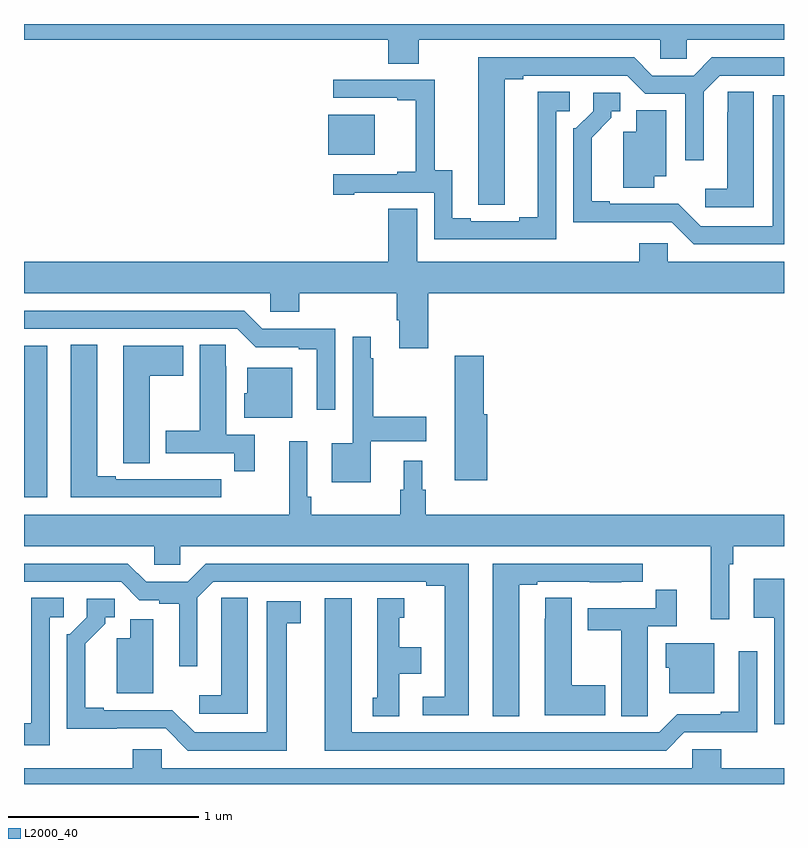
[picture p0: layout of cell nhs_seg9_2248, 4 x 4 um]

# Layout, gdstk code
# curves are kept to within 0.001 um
import gdstk
lib = gdstk.Library(unit=1e-6, precision=1e-09)
def R(c, l, rs):  # rectangles x0, y0, x1, y1
    for r in rs: c.add(gdstk.rectangle(r[:2], r[2:], *l))
def P(c, l, *ps):  # polygons
    for p in ps: c.add(gdstk.Polygon(p, *l))
L2000_40 = (2000, 40)

nhs_seg9_2248 = lib.new_cell('nhs_seg9_2248')
R(nhs_seg9_2248, L2000_40, [(239,1198.008,239.122,1198.806), (240.602,1199.813,240.847,1200.022)])
P(nhs_seg9_2248, L2000_40, [(241.077,1200.416),(242.349,1200.416),(242.349,1200.318),(242.487,1200.318),(242.487,1200.416),(243,1200.416),(243,1200.5),(239,1200.5),(239,1200.416),(240.917,1200.416),(240.917,1200.292),(241.077,1200.292)],
  [(241.531,1200.208),(241.627,1200.208),(241.627,1200.228),(242.175,1200.228),(242.271,1200.132),(242.481,1200.132),(242.481,1199.784),(242.577,1199.784),(242.577,1200.144),(242.661,1200.228),(243,1200.228),(243,1200.324),(242.621,1200.324),(242.525,1200.228),(242.307,1200.228),(242.211,1200.324),(241.391,1200.324),(241.392,1199.548),(241.531,1199.548)],
  [(241.8,1200.042),(241.873,1200.042),(241.873,1200.143),(241.703,1200.143),(241.703,1199.483),(241.607,1199.483),(241.607,1199.463),(241.351,1199.463),(241.351,1199.478),(241.255,1199.478),(241.255,1199.729),(241.161,1199.729),(241.161,1200.207),(240.627,1200.207),(240.627,1200.111),(240.965,1200.111),(240.965,1200.099),(241.061,1200.099),(241.061,1199.722),(240.965,1199.722),(240.965,1199.709),(240.627,1199.709),(240.627,1199.601),(240.739,1199.601),(240.739,1199.613),(241.158,1199.613),(241.158,1199.367),(241.8,1199.367)],
  [(242.842,1200.143),(242.703,1200.143),(242.703,1200.035),(242.702,1200.035),(242.702,1199.632),(242.586,1199.632),(242.586,1199.535),(242.842,1199.535)],
  [(243,1200.126),(242.942,1200.126),(242.942,1199.436),(242.562,1199.436),(242.444,1199.554),(242.083,1199.553),(242.083,1199.566),(241.987,1199.566),(241.987,1199.902),(242.092,1200.007),(242.092,1200.042),(242.137,1200.042),(242.137,1200.138),(241.995,1200.138),(241.995,1200.042),(241.905,1199.952),(241.89,1199.952),(241.89,1199.456),(242.409,1199.457),(242.526,1199.34),(243,1199.34)],
  [(242.317,1199.699),(242.38,1199.699),(242.38,1200.047),(242.222,1200.047),(242.222,1199.932),(242.153,1199.932),(242.153,1199.638),(242.317,1199.638)],
  [(241.127,1199.084),(243,1199.084),(243,1199.248),(242.388,1199.248),(242.388,1199.346),(242.237,1199.346),(242.237,1199.248),(241.069,1199.248),(241.069,1199.528),(240.917,1199.528),(240.917,1199.248),(239,1199.248),(239,1199.084),(240.297,1199.084),(240.297,1198.986),(240.449,1198.986),(240.449,1199.084),(240.962,1199.084),(240.962,1198.942),(240.974,1198.942),(240.974,1198.794),(241.127,1198.794)],
  [(240.639,1198.896),(240.255,1198.896),(240.159,1198.992),(239,1198.992),(239,1198.896),(240.123,1198.896),(240.219,1198.8),(240.446,1198.8),(240.446,1198.788),(240.542,1198.788),(240.542,1198.47),(240.639,1198.47)],
  [(240.826,1198.304),(241.117,1198.304),(241.117,1198.434),(240.838,1198.434),(240.838,1198.742),(240.826,1198.742),(240.826,1198.855),(240.729,1198.855),(240.729,1198.294),(240.62,1198.294),(240.62,1198.088),(240.826,1198.088)],
  [(240.037,1198.104),(239.924,1198.104),(239.924,1198.105),(239.758,1198.105),(239.758,1198.104),(239.482,1198.104),(239.482,1198.119),(239.386,1198.119),(239.386,1198.811),(239.246,1198.811),(239.246,1198.008),(240.037,1198.008)],
  [(240.215,1198.338),(240.064,1198.338),(240.064,1198.7),(240.063,1198.7),(240.063,1198.811),(239.924,1198.811),(239.924,1198.359),(239.747,1198.359),(239.747,1198.242),(240.106,1198.242),(240.106,1198.146),(240.215,1198.146)],
  [(239.662,1198.648),(239.839,1198.648),(239.839,1198.807),(239.522,1198.807),(239.522,1198.297),(239.523,1198.297),(239.523,1198.189),(239.662,1198.189)],
  [(241.439,1198.446),(241.421,1198.446),(241.421,1198.753),(241.267,1198.753),(241.267,1198.446),(241.268,1198.446),(241.268,1198.098),(241.439,1198.098)],
  [(240.412,1198.69),(240.176,1198.69),(240.176,1198.557),(240.158,1198.557),(240.158,1198.427),(240.412,1198.427)],
  [(240.998,1198.201),(240.998,1198.05),(240.979,1198.05),(240.979,1197.916),(240.512,1197.916),(240.512,1198.012),(240.492,1198.012),(240.492,1198.303),(240.395,1198.303),(240.395,1197.916),(239,1197.916),(239,1197.752),(239.685,1197.752),(239.685,1197.654),(239.823,1197.654),(239.823,1197.752),(242.615,1197.752),(242.615,1197.366),(242.712,1197.366),(242.712,1197.656),(242.732,1197.656),(242.732,1197.752),(243,1197.752),(243,1197.916),(241.115,1197.916),(241.115,1198.05),(241.096,1198.05),(241.096,1198.201)],
  [(241.342,1197.66),(239.957,1197.66),(239.861,1197.564),(239.643,1197.564),(239.547,1197.66),(239,1197.66),(239,1197.564),(239.511,1197.564),(239.607,1197.468),(239.712,1197.468),(239.712,1197.448),(239.816,1197.448),(239.816,1197.12),(239.913,1197.12),(239.913,1197.48),(239.997,1197.564),(241.118,1197.564),(241.118,1197.544),(241.214,1197.544),(241.214,1196.958),(241.098,1196.958),(241.098,1196.862),(241.342,1196.862)],
  [(241.606,1197.549),(241.702,1197.549),(241.702,1197.564),(241.978,1197.564),(241.978,1197.563),(242.144,1197.563),(242.144,1197.564),(242.257,1197.564),(242.257,1197.66),(241.466,1197.66),(241.466,1196.857),(241.606,1196.857)],
  [(243,1197.58),(242.84,1197.58),(242.84,1197.374),(242.949,1197.374),(242.949,1196.814),(243,1196.814)],
  [(242.283,1196.968),(242.284,1196.968),(242.284,1197.33),(242.435,1197.33),(242.435,1197.523),(242.326,1197.523),(242.326,1197.426),(241.967,1197.426),(241.967,1197.31),(242.144,1197.31),(242.144,1196.857),(242.283,1196.857)],
  [(239.136,1197.378),(239.209,1197.378),(239.209,1197.479),(239.039,1197.479),(239.039,1196.819),(239,1196.819),(239,1196.703),(239.136,1196.703)],
  [(240.178,1197.479),(240.039,1197.479),(240.039,1197.371),(240.038,1197.371),(240.038,1196.968),(239.922,1196.968),(239.922,1196.871),(240.178,1196.871)],
  [(242.059,1197.021),(241.882,1197.021),(241.882,1197.479),(241.743,1197.479),(241.743,1197.371),(241.742,1197.371),(241.742,1196.861),(242.059,1196.861)],
  [(240.976,1197.08),(241.09,1197.08),(241.09,1197.22),(240.976,1197.22),(240.976,1197.375),(241,1197.375),(241,1197.478),(240.86,1197.478),(240.86,1196.955),(240.836,1196.955),(240.836,1196.857),(240.976,1196.857)],
  [(242.475,1196.772),(242.859,1196.772),(242.859,1197.199),(242.762,1197.199),(242.762,1196.881),(242.666,1196.881),(242.666,1196.868),(242.439,1196.868),(242.343,1196.772),(240.724,1196.772),(240.724,1197.478),(240.584,1197.478),(240.584,1196.676),(242.379,1196.676)],
  [(240.382,1197.346),(240.457,1197.346),(240.457,1197.462),(240.278,1197.462),(240.278,1196.772),(239.898,1196.772),(239.781,1196.889),(239.419,1196.889),(239.419,1196.902),(239.323,1196.902),(239.323,1197.238),(239.428,1197.343),(239.428,1197.378),(239.478,1197.378),(239.478,1197.474),(239.331,1197.474),(239.331,1197.378),(239.241,1197.288),(239.226,1197.288),(239.226,1196.792),(239.745,1196.793),(239.862,1196.676),(240.382,1196.676)],
  [(239.68,1197.366),(239.558,1197.366),(239.558,1197.268),(239.489,1197.268),(239.489,1196.978),(239.68,1196.978)],
  [(242.632,1197.241),(242.378,1197.241),(242.378,1197.111),(242.396,1197.111),(242.396,1196.978),(242.632,1196.978)],
  [(243,1196.584),(242.669,1196.584),(242.669,1196.682),(242.517,1196.682),(242.517,1196.584),(239.724,1196.584),(239.724,1196.682),(239.573,1196.682),(239.573,1196.584),(239,1196.584),(239,1196.5),(243,1196.5)])

lib.write_gds('nhs_seg9_2248.gds')
